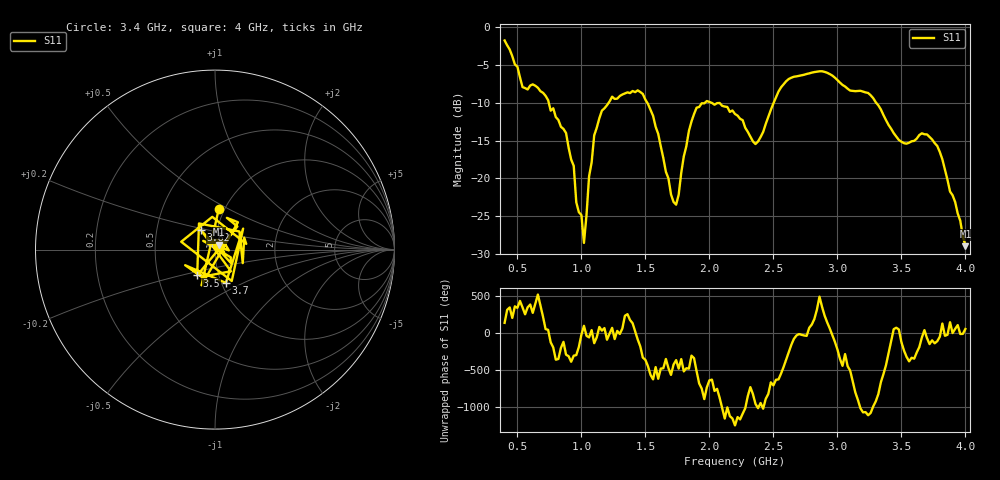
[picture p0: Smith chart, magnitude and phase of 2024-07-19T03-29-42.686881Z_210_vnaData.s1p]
!Created with skrf (http://scikit-rf.org).
# Hz S RI R 50.0
!freq ReS11 ImS11
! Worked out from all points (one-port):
!   181 points, 400 MHz to 4 GHz, reference 50 ohm
!   lowest |S11| = -29.0 dB at 4 GHz (marker M1), VSWR 1.07, Z = 52.1 + j2.95 ohm
!   |S11| at or under -10 dB: 744.9 MHz to 1.213 GHz (468.2 MHz wide, 47.8 % of centre); 2.016 GHz to 2.502 GHz (486.9 MHz wide, 21.6 % of centre); 3.303 GHz to end of sweep (the widest 3 of 4)
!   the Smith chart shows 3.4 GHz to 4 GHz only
!   S11 on the Smith chart (normalised r, x): 3.4 GHz: 0.94, +0.44; 3.5 GHz: 0.79, -0.23; 3.7 GHz: 1.05, -0.40; 3.82 GHz: 0.84, +0.18; 4 GHz: 1.04, +0.06
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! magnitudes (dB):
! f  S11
! 400 MHz  -1.8
! 540 MHz  -7.9
! 700 MHz  -8.7
! 860 MHz  -13.5
! 940 MHz  -18.3
! 960 MHz  -23.2
! 1 GHz  -24.9
! 1.02 GHz  -28.5
! 1.1 GHz  -14.3
! 1.16 GHz  -11.1
! 1.3 GHz  -9.1
! 1.48 GHz  -8.8
! 1.6 GHz  -14.1
! 1.72 GHz  -23.1
! 1.76 GHz  -22.2
! 1.84 GHz  -13.7
! 1.9 GHz  -10.7
! 2.2 GHz  -11.5
! 2.36 GHz  -15.5
! 2.66 GHz  -6.6
! 3.1 GHz  -8.4
! 3.24 GHz  -8.7
! 3.4 GHz  -12.9
! 3.5 GHz  -15.2
! 3.56 GHz  -15.3
! 3.7 GHz  -14.2
! 3.82 GHz  -17.5
! 4 GHz  -29.0
